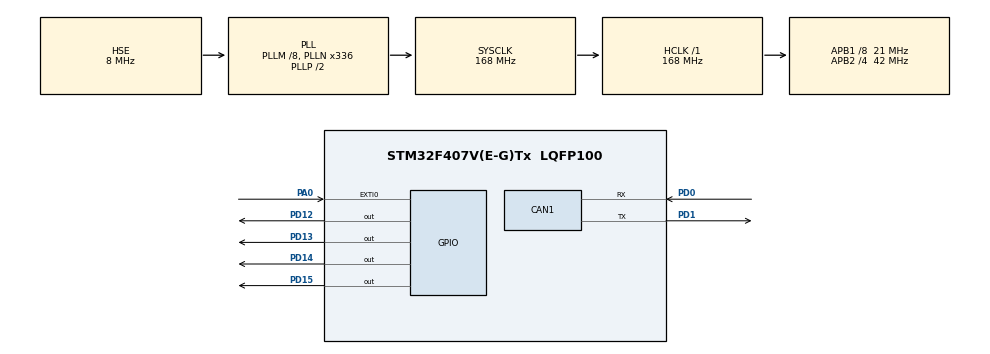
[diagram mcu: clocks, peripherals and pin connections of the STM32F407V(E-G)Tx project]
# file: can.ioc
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CAN1.BS1=CAN_BS1_3TQ
CAN1.BS2=CAN_BS2_5TQ
CAN1.CalculateTimeBit=6857
CAN1.CalculateTimeQuantum=761.9047619047619
Mcu.Family=STM32F4
Mcu.Name=STM32F407V(E-G)Tx
Mcu.Package=LQFP100
NVIC.CAN1_RX0_IRQn=true\:0\:0\:false\:false\:true\:true
NVIC.EXTI0_IRQn=true\:0\:1\:false\:false\:true\:true
NVIC.PriorityGroup=NVIC_PRIORITYGROUP_0
PA0-WKUP.Signal=GPXTI0
PD0.Mode=Master
PD0.Signal=CAN1_RX
PD1.Mode=Master
PD1.Signal=CAN1_TX
PD12.Signal=GPIO_Output
PD13.Signal=GPIO_Output
PD14.Signal=GPIO_Output
PD15.Signal=GPIO_Output
PH0-OSC_IN.Mode=HSE-External-Oscillator
PH0-OSC_IN.Signal=RCC_OSC_IN
PH1-OSC_OUT.Mode=HSE-External-Oscillator
PH1-OSC_OUT.Signal=RCC_OSC_OUT
ProjectManager.HeapSize=0x200
ProjectManager.StackSize=0x400
ProjectManager.TargetToolchain=SW4STM32
RCC.48MHZClocksFreq_Value=48000000
RCC.AHBFreq_Value=168000000
RCC.APB1CLKDivider=RCC_HCLK_DIV8
RCC.APB1Freq_Value=21000000
RCC.APB1TimFreq_Value=42000000
RCC.APB2CLKDivider=RCC_HCLK_DIV4
RCC.APB2Freq_Value=42000000
RCC.APB2TimFreq_Value=84000000
RCC.CortexFreq_Value=168000000
RCC.HCLKFreq_Value=168000000
RCC.HSE_VALUE=8000000
RCC.HSI_VALUE=16000000
RCC.LSE_VALUE=32768
RCC.PLLM=8
RCC.PLLN=336
RCC.PLLQ=7
RCC.PLLSourceVirtual=RCC_PLLSOURCE_HSE
RCC.SYSCLKFreq_VALUE=168000000
RCC.SYSCLKSource=RCC_SYSCLKSOURCE_PLLCLK
RCC.VCOOutputFreq_Value=336000000
board=STM32F4DISCOVERY

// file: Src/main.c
/**
 ******************************************************************************
 * File Name          : main.c
 * Description        : Main program body
 ******************************************************************************
 ** This notice applies to any and all portions of this file
 * that are not between comment pairs USER CODE BEGIN and
 * USER CODE END. Other portions of this file, whether
 * inserted by the user or by software development tools
 * are owned by their respective copyright owners.
 *
 * COPYRIGHT(c) 2017 STMicroelectronics
 *
 * Redistribution and use in source and binary forms, with or without modification,
 * are permitted provided that the following conditions are met:
 *   1. Redistributions of source code must retain the above copyright notice,
 *      this list of conditions and the following disclaimer.
 *   2. Redistributions in binary form must reproduce the above copyright notice,
 *      this list of conditions and the following disclaimer in the documentation
 *      and/or other materials provided with the distribution.
 *   3. Neither the name of STMicroelectronics nor the names of its contributors
 *      may be used to endorse or promote products derived from this software
 *      without specific prior written permission.
 *
 * THIS SOFTWARE IS PROVIDED BY THE COPYRIGHT HOLDERS AND CONTRIBUTORS "AS IS"
 * AND ANY EXPRESS OR IMPLIED WARRANTIES, INCLUDING, BUT NOT LIMITED TO, THE
 * IMPLIED WARRANTIES OF MERCHANTABILITY AND FITNESS FOR A PARTICULAR PURPOSE ARE
 * DISCLAIMED. IN NO EVENT SHALL THE COPYRIGHT HOLDER OR CONTRIBUTORS BE LIABLE
 * FOR ANY DIRECT, INDIRECT, INCIDENTAL, SPECIAL, EXEMPLARY, OR CONSEQUENTIAL
 * DAMAGES (INCLUDING, BUT NOT LIMITED TO, PROCUREMENT OF SUBSTITUTE GOODS OR
 * SERVICES; LOSS OF USE, DATA, OR PROFITS; OR BUSINESS INTERRUPTION) HOWEVER
 * CAUSED AND ON ANY THEORY OF LIABILITY, WHETHER IN CONTRACT, STRICT LIABILITY,
 * OR TORT (INCLUDING NEGLIGENCE OR OTHERWISE) ARISING IN ANY WAY OUT OF THE USE
 * OF THIS SOFTWARE, EVEN IF ADVISED OF THE POSSIBILITY OF SUCH DAMAGE.
 *
 ******************************************************************************
 */

#include "main.h"
#include "stm32f4xx_hal.h"

/* USER CODE BEGIN Includes */
#include <stdlib.h>
#define RXMSG_STDID 0x456	//received message ID (Std)
#define TXMSG_STDID 0x123	//sent message ID (Std)

#define RXMSG_EXTID 0x67890	//received message ID (Ext)
#define TXMSG_EXTID 0x12345	//sent message ID (Ext)

#define EXTID	//chose between messages ID Lentgh STDID or EXTID

/* USER CODE END Includes */

CAN_HandleTypeDef hcan1;

/* USER CODE BEGIN PV */
/* Private variables ---------------------------------------------------------*/
CAN_FilterConfTypeDef FilterCfg;

/* USER CODE END PV */

void SystemClock_Config(void);
static void MX_GPIO_Init(void);
static void MX_CAN1_Init(void);

/* USER CODE BEGIN PFP */
/* Private function prototypes -----------------------------------------------*/
static void Filter_Configuration(CAN_FilterConfTypeDef *);
static void Error_Sig(void);
/* USER CODE END PFP */

int main(void)
{

	/* MCU Configuration----------------------------------------------------------*/

	/* Reset of all peripherals, Initializes the Flash interface and the Systick. */
	HAL_Init();

	/* Configure the system clock */
	SystemClock_Config();

	/* Initialize all configured peripherals */
	MX_GPIO_Init();
	MX_CAN1_Init();

	/* USER CODE BEGIN 2 */
	hcan1.pTxMsg = (CanTxMsgTypeDef *)malloc(sizeof(*hcan1.pTxMsg));
	if (hcan1.pTxMsg == NULL)
		Error_Sig();

	hcan1.pRxMsg = (CanRxMsgTypeDef *)malloc(sizeof(*hcan1.pRxMsg));
	if (hcan1.pRxMsg == NULL)
		Error_Sig();

	Filter_Configuration(&FilterCfg);

#ifdef STDID
	hcan1.pTxMsg->StdId = TXMSG_STDID;
	hcan1.pTxMsg->IDE = CAN_ID_STD;
#elif defined EXTID
	hcan1.pTxMsg->ExtId = TXMSG_EXTID;
	hcan1.pTxMsg->IDE = CAN_ID_EXT;
#endif
	hcan1.pTxMsg->RTR = CAN_RTR_DATA;
	hcan1.pTxMsg->DLC = 1;

	HAL_CAN_Receive_IT(&hcan1, CAN_FIFO0);	//Enable interrupt on CAN Rx
	/* USER CODE END 2 */

	/* Infinite loop */
	while (1)
	{

	}

}

/** System Clock Configuration
 */
void SystemClock_Config(void)
{

	RCC_OscInitTypeDef RCC_OscInitStruct;
	RCC_ClkInitTypeDef RCC_ClkInitStruct;

	/**Configure the main internal regulator output voltage
	 */
	__HAL_RCC_PWR_CLK_ENABLE();

	__HAL_PWR_VOLTAGESCALING_CONFIG(PWR_REGULATOR_VOLTAGE_SCALE1);

	/**Initializes the CPU, AHB and APB busses clocks
	 */
	RCC_OscInitStruct.OscillatorType = RCC_OSCILLATORTYPE_HSE;
	RCC_OscInitStruct.HSEState = RCC_HSE_ON;
	RCC_OscInitStruct.PLL.PLLState = RCC_PLL_ON;
	RCC_OscInitStruct.PLL.PLLSource = RCC_PLLSOURCE_HSE;
	RCC_OscInitStruct.PLL.PLLM = 8;
	RCC_OscInitStruct.PLL.PLLN = 336;
	RCC_OscInitStruct.PLL.PLLP = RCC_PLLP_DIV2;
	RCC_OscInitStruct.PLL.PLLQ = 7;
	if (HAL_RCC_OscConfig(&RCC_OscInitStruct) != HAL_OK)
	{
		_Error_Handler(__FILE__, __LINE__);
	}

	/**Initializes the CPU, AHB and APB busses clocks
	 */
	RCC_ClkInitStruct.ClockType = RCC_CLOCKTYPE_HCLK|RCC_CLOCKTYPE_SYSCLK
			|RCC_CLOCKTYPE_PCLK1|RCC_CLOCKTYPE_PCLK2;
	RCC_ClkInitStruct.SYSCLKSource = RCC_SYSCLKSOURCE_PLLCLK;
	RCC_ClkInitStruct.AHBCLKDivider = RCC_SYSCLK_DIV1;
	RCC_ClkInitStruct.APB1CLKDivider = RCC_HCLK_DIV8;
	RCC_ClkInitStruct.APB2CLKDivider = RCC_HCLK_DIV4;

	if (HAL_RCC_ClockConfig(&RCC_ClkInitStruct, FLASH_LATENCY_5) != HAL_OK)
	{
		_Error_Handler(__FILE__, __LINE__);
	}

	/**Configure the Systick interrupt time
	 */
	HAL_SYSTICK_Config(HAL_RCC_GetHCLKFreq()/1000);

	/**Configure the Systick
	 */
	HAL_SYSTICK_CLKSourceConfig(SYSTICK_CLKSOURCE_HCLK);

	/* SysTick_IRQn interrupt configuration */
	HAL_NVIC_SetPriority(SysTick_IRQn, 0, 0);
}

/* CAN1 init function */
static void MX_CAN1_Init(void)
{
	// APB1 peripheral clock = 21000000Hz
	hcan1.Instance = CAN1;  // number of time quanta = 21000000/16/145833 = SJW + BS1 + BS2
	hcan1.Init.Prescaler = 16;  // Bit Rate = 145833 Bits/s
	hcan1.Init.Mode = CAN_MODE_NORMAL;
	hcan1.Init.SJW = CAN_SJW_1TQ;
	hcan1.Init.BS1 = CAN_BS1_4TQ;
	hcan1.Init.BS2 = CAN_BS2_4TQ;
	hcan1.Init.TTCM = DISABLE;
	hcan1.Init.ABOM = DISABLE;
	hcan1.Init.AWUM = DISABLE;
	hcan1.Init.NART = DISABLE;
	hcan1.Init.RFLM = DISABLE;
	hcan1.Init.TXFP = DISABLE;
	if (HAL_CAN_Init(&hcan1) != HAL_OK)
	{
		_Error_Handler(__FILE__, __LINE__);
	}

}

/** Configure pins as
 * Analog
 * Input
 * Output
 * EVENT_OUT
 * EXTI
 */
static void MX_GPIO_Init(void)
{

	GPIO_InitTypeDef GPIO_InitStruct;

	/* GPIO Ports Clock Enable */
	__HAL_RCC_GPIOH_CLK_ENABLE();
	__HAL_RCC_GPIOA_CLK_ENABLE();
	__HAL_RCC_GPIOD_CLK_ENABLE();

	/*Configure GPIO pin Output Level */
	HAL_GPIO_WritePin(GPIOD, GPIO_PIN_12|GPIO_PIN_13|GPIO_PIN_14|GPIO_PIN_15, GPIO_PIN_RESET);

	/*Configure GPIO pin : PA0 */
	GPIO_InitStruct.Pin = GPIO_PIN_0;
	GPIO_InitStruct.Mode = GPIO_MODE_IT_RISING;
	GPIO_InitStruct.Pull = GPIO_NOPULL;
	HAL_GPIO_Init(GPIOA, &GPIO_InitStruct);

	/*Configure GPIO pins : PD12 PD13 PD14 PD15 */
	GPIO_InitStruct.Pin = GPIO_PIN_12|GPIO_PIN_13|GPIO_PIN_14|GPIO_PIN_15;
	GPIO_InitStruct.Mode = GPIO_MODE_OUTPUT_PP;
	GPIO_InitStruct.Pull = GPIO_NOPULL;
	GPIO_InitStruct.Speed = GPIO_SPEED_FREQ_LOW;
	HAL_GPIO_Init(GPIOD, &GPIO_InitStruct);

	/* EXTI interrupt init*/
	HAL_NVIC_SetPriority(EXTI0_IRQn, 0, 1);
	HAL_NVIC_EnableIRQ(EXTI0_IRQn);

}

/* USER CODE BEGIN 4 */
/**
 * Filter config
 */
static void Filter_Configuration(CAN_FilterConfTypeDef *FC)
{
	FC->FilterNumber = 0;	//First filter
	FC->FilterMode = CAN_FILTERMODE_IDLIST;
	FC->FilterScale = CAN_FILTERSCALE_32BIT;
#ifdef STDID
	FC->FilterIdHigh = RXMSG_STDID << 5;	//configure STID[10:0], page 1091 - RM0090
#elif defined EXTID
	FC->FilterIdLow = ((RXMSG_EXTID << 3) | CAN_ID_EXT) & 0x0000FFFF;	// configure EXID[12:0] & IDE, page 1091 - RM0090
	FC->FilterIdHigh = (RXMSG_EXTID >> (16 - 3)) & 0x0000FFFF;	//configure EXID[17:13]
#endif
	FC->FilterMaskIdHigh = 0;
	FC->FilterMaskIdLow = 0;
	FC->FilterFIFOAssignment = 0;
	FC->BankNumber = 0;
	FC->FilterActivation = ENABLE;
	HAL_CAN_ConfigFilter(&hcan1, FC);
}

static void Error_Sig(void)
{
	HAL_GPIO_WritePin(GPIOD, GPIO_PIN_13, GPIO_PIN_SET);
	for(;;);
}
/* USER CODE END 4 */

void _Error_Handler(char * file, int line)
{
	while(1)
	{
	}
}

/************************ (C) COPYRIGHT STMicroelectronics *****END OF FILE****/
